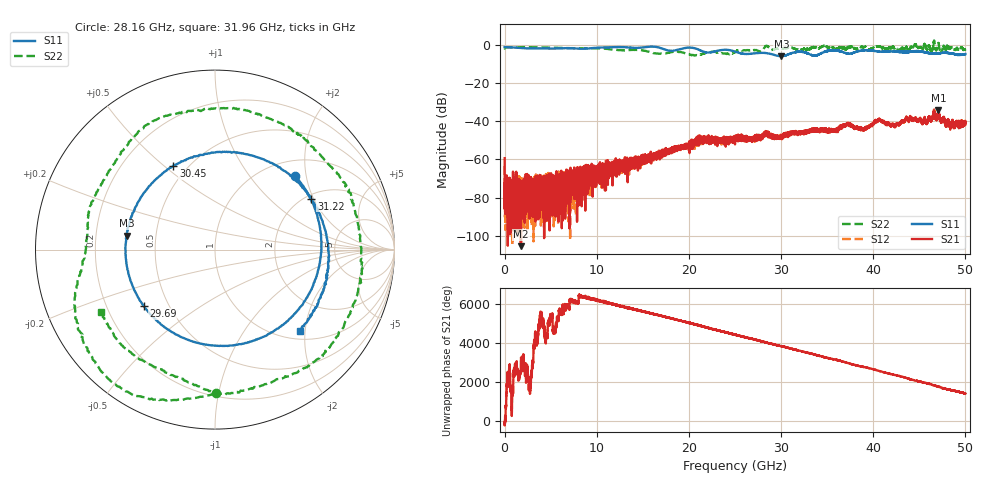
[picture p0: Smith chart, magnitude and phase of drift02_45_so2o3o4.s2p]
!Created with skrf (http://scikit-rf.org).
# Hz S RI R 50.0
!freq ReS11 ImS11 ReS21 ImS21 ReS12 ImS12 ReS22 ImS22
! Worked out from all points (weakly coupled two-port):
!   10001 points, 300 kHz to 50 GHz, reference 50 ohm
!   highest |S21| = -34.14 dB at 47.08 GHz (marker M1); lowest = -105.3 dB at 1.78 GHz (marker M2)
!   lowest |S11| = -6.1 dB at 30.04 GHz (marker M3), VSWR 2.97, Z = 17 + j3.5 ohm
!   |S11| at or under -10 dB: nowhere
!   |S22| runs from -5.7 to 2.2 dB; largest |S21 - S12| = 0.0036
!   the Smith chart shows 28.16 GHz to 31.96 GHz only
!   S11 on the Smith chart (normalised r, x): 28.16 GHz: 1.33, +1.73; 29.69 GHz: 0.36, -0.31; 30.45 GHz: 0.42, +0.54; 31.22 GHz: 2.13, +1.92; 31.96 GHz: 1.19, -1.87
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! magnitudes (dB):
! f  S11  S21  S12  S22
! 300 kHz  -1.3  -59.3  -63.5  -2.0
! 255.3 MHz  -1.4  -72.0  -75.8  -1.4
! 1.78 GHz  -1.8  -105.3  -79.0  -1.4
! 6.425 GHz  -1.9  -78.8  -69.7  -1.8
! 8.335 GHz  -2.2  -68.6  -69.7  -1.9
! 16.67 GHz  -1.5  -58.0  -58.3  -4.7
! 21.5 GHz  -3.5  -49.6  -51.1  -4.7
! 25 GHz  -3.7  -52.1  -49.0  -3.9
! 28.16 GHz  -4.3  -47.0  -46.8  -1.9
! 29.69 GHz  -5.9  -48.4  -48.6  -2.1
! 30.04 GHz  -6.1  -48.2  -47.3  -2.0
! 30.45 GHz  -5.7  -46.6  -47.1  -1.9
! 31.22 GHz  -4.3  -45.5  -46.0  -1.8
! 31.96 GHz  -3.7  -46.1  -46.2  -2.8
! 33.34 GHz  -5.5  -44.6  -44.8  -1.5
! 37.27 GHz  -4.7  -41.5  -41.3  -1.5
! 38.93 GHz  -3.0  -43.9  -44.2  -1.4
! 40.59 GHz  -3.7  -39.0  -39.2  -1.0
! 41.67 GHz  -3.6  -41.2  -41.2  -1.9
! 47.08 GHz  -4.6  -34.1  -35.3  0.7
! 48.14 GHz  -4.4  -39.8  -40.0  -0.8
! 50 GHz  -4.9  -40.2  -40.7  -2.7
